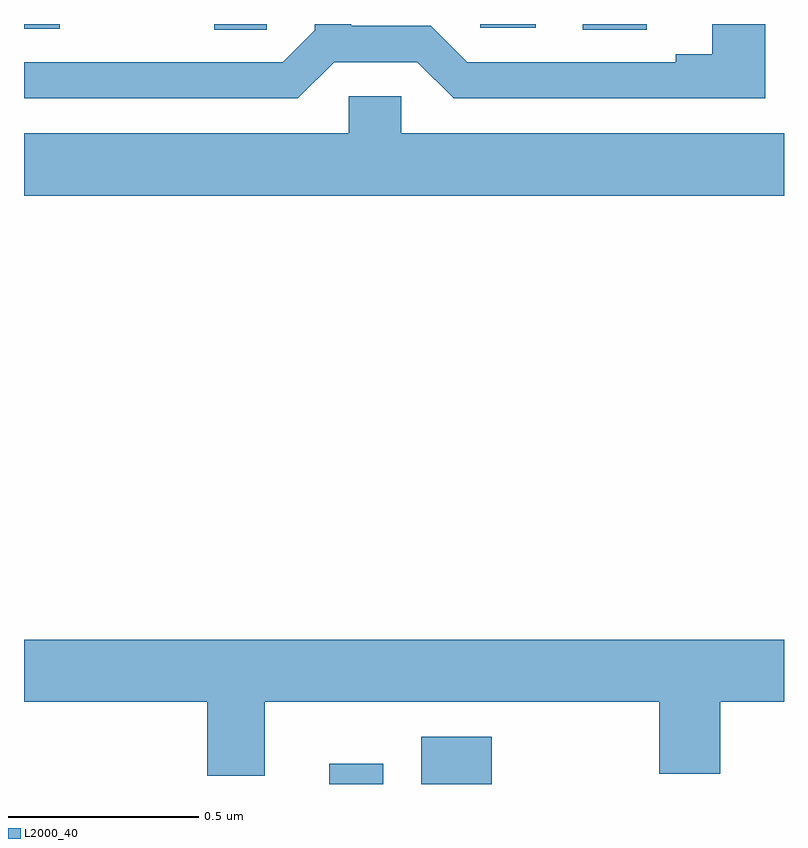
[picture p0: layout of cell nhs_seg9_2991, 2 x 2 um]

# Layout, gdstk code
import gdstk
lib = gdstk.Library(unit=1e-6, precision=1e-09)
def R(c, l, rs):  # rectangles x0, y0, x1, y1
    for r in rs: c.add(gdstk.rectangle(r[:2], r[2:], *l))
def P(c, l, *ps):  # polygons
    for p in ps: c.add(gdstk.Polygon(p, *l))
L2000_40 = (2000, 40)

nhs_seg9_2991 = lib.new_cell('nhs_seg9_2991')
R(nhs_seg9_2991, L2000_40, [(147.803,1233.5,147.946,1233.553), (148.046,1233.5,148.231,1233.625), (147.5,1235.485,147.639,1235.5), (148.47,1235.485,148.639,1235.5), (147,1235.487,147.094,1235.5), (148.2,1235.49,148.347,1235.5)])
P(nhs_seg9_2991, L2000_40, [(147.817,1235.4),(148.035,1235.4),(148.131,1235.304),(148.951,1235.304),(148.951,1235.5),(148.811,1235.5),(148.811,1235.42),(148.715,1235.42),(148.715,1235.4),(148.167,1235.4),(148.071,1235.496),(147.861,1235.496),(147.861,1235.5),(147.765,1235.5),(147.765,1235.484),(147.681,1235.4),(147,1235.4),(147,1235.304),(147.721,1235.304)],
  [(149,1235.212),(147.993,1235.212),(147.993,1235.31),(147.855,1235.31),(147.855,1235.212),(147,1235.212),(147,1235.048),(149,1235.048)],
  [(147,1233.716),(147.482,1233.716),(147.482,1233.522),(147.634,1233.522),(147.634,1233.716),(148.672,1233.716),(148.672,1233.527),(148.832,1233.527),(148.832,1233.716),(149,1233.716),(149,1233.88),(147,1233.88)])

lib.write_gds('nhs_seg9_2991.gds')
